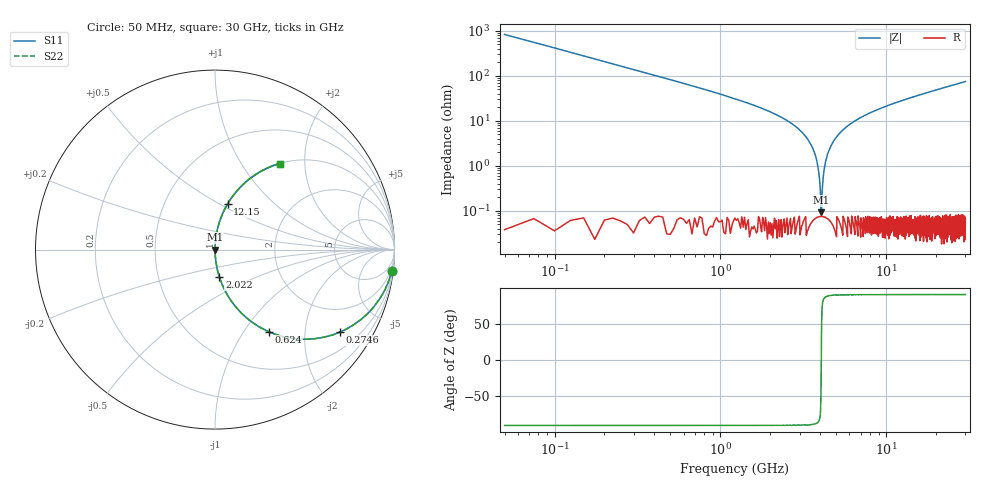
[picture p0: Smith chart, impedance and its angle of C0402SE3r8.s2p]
!	AVX Thin Film Operation 	Date: April 2014
!	Description: Accu-P® Series, Thin Film  SMD RF Capacitor
!	Part Number: 04025J3R8ABSTR
# MHZ S MA R 50
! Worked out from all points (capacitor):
!   1201 points, 50 MHz to 30 GHz, reference 50 ohm
!   read as one part in series: C = 3.8 pF near 199.8 MHz
!   lowest |Z| = 92.6 mohm at 4.068 GHz (marker M1)
!   series resonance near 4.058 GHz, so ESL is about 400 pH
!   S11 on the Smith chart (normalised r, x): 50 MHz: 1, -17; 274.6 MHz: 1.00, -3.04; 624 MHz: 1.00, -1.31; 2.022 GHz: 1.00, -0.31; 12.15 GHz: 1.00, +0.55; 30 GHz: 1.00, +1.50
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50  0.993 -6.8  0.119 83.2  0.119 83.2  0.993 -6.8
274.625  0.835 -33.4  0.55 56.6  0.55 56.6  0.835 -33.4
624.042  0.548 -56.7  0.836 33.2  0.836 33.2  0.548 -56.7
1123.208  0.325 -70.9  0.945 19.0  0.945 19.0  0.325 -70.9
2021.708  0.154 -81.0  0.988 8.8  0.988 8.8  0.154 -81.0
2920.208  0.069 -85.6  0.997 4.0  0.997 4.0  0.069 -85.6
3469.292  0.032 -87.3  0.999 1.9  0.999 1.9  0.032 -87.3
3743.833  0.017 -87.3  0.999 1.0  0.999 1.0  0.017 -87.3
3843.667  0.011 -86.8  0.999 0.6  0.999 0.6  0.011 -86.8
3943.5  0.005907 -84.8  0.999 0.3  0.999 0.3  0.005907 -84.8
4068.292  0.0007386 47.4  0.999 -0.0  0.999 -0.0  0.0007386 47.4
4168.125  0.005569 84.5  0.999 -0.3  0.999 -0.3  0.005569 84.5
4292.917  0.012 86.9  0.999 -0.7  0.999 -0.7  0.012 86.9
4442.667  0.019 87.4  0.999 -1.1  0.999 -1.1  0.019 87.4
5041.667  0.045 86.8  0.998 -2.6  0.998 -2.6  0.045 86.8
6788.75  0.11 83.4  0.993 -6.3  0.993 -6.3  0.11 83.4
10058.29  0.209 77.8  0.977 -12.1  0.977 -12.1  0.209 77.8
12154.79  0.265 74.5  0.964 -15.4  0.964 -15.4  0.265 74.5
15025  0.334 70.4  0.942 -19.5  0.942 -19.5  0.334 70.4
20016.67  0.439 63.9  0.898 -26.0  0.898 -26.0  0.439 63.9
25033.29  0.527 58.2  0.85 -31.8  0.85 -31.8  0.527 58.2
30000  0.599 53.1  0.8 -36.8  0.8 -36.8  0.599 53.1
